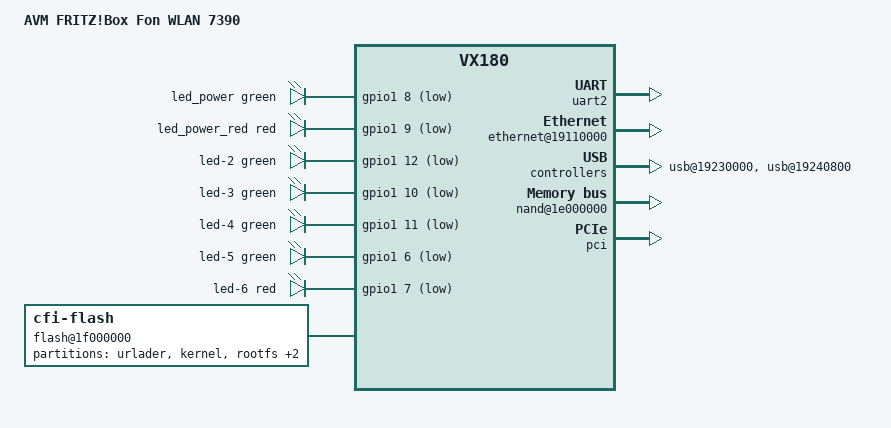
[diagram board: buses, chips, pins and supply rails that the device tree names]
// SPDX-License-Identifier: GPL-2.0
/dts-v1/;

#include <dt-bindings/gpio/gpio.h>
#include <dt-bindings/leds/common.h>

/ {
	#address-cells = <1>;
	#size-cells = <1>;
	compatible = "avm,fritzbox-7390", "ikanos,vx180";
	model = "AVM FRITZ!Box Fon WLAN 7390";

	aliases {
		serial0 = &uart2;
		led-boot = &led_power;
		led-failsafe = &led_power_red;
		led-running = &led_power;
		led-upgrade = &led_power_red;
	};

	chosen {
		stdout-path = "serial0:115200n8";
	};

	/* The numbers are those of AVM's hw156 configuration minus 16. */
	leds {
		compatible = "gpio-leds";

		led_power: led-0 {
			color = <LED_COLOR_ID_GREEN>;
			function = LED_FUNCTION_POWER;
			gpios = <&gpio1 8 GPIO_ACTIVE_LOW>;
			default-state = "keep";
		};

		led_power_red: led-1 {
			color = <LED_COLOR_ID_RED>;
			function = LED_FUNCTION_POWER;
			gpios = <&gpio1 9 GPIO_ACTIVE_LOW>;
		};

		led-2 {
			color = <LED_COLOR_ID_GREEN>;
			function = "internet";
			gpios = <&gpio1 12 GPIO_ACTIVE_LOW>;
		};

		/* Labelled "Festnetz" on the box. */
		led-3 {
			color = <LED_COLOR_ID_GREEN>;
			function = "phone";
			gpios = <&gpio1 10 GPIO_ACTIVE_LOW>;
		};

		led-4 {
			color = <LED_COLOR_ID_GREEN>;
			function = LED_FUNCTION_WLAN;
			gpios = <&gpio1 11 GPIO_ACTIVE_LOW>;
		};

		led-5 {
			color = <LED_COLOR_ID_GREEN>;
			function = "info";
			gpios = <&gpio1 6 GPIO_ACTIVE_LOW>;
		};

		led-6 {
			color = <LED_COLOR_ID_RED>;
			function = "info";
			gpios = <&gpio1 7 GPIO_ACTIVE_LOW>;
		};
	};

	cpuintc: interrupt-controller {
		compatible = "mti,cpu-interrupt-controller";
		#address-cells = <0>;
		#interrupt-cells = <1>;
		interrupt-controller;
	};

	soc {
		compatible = "simple-bus";
		#address-cells = <1>;
		#size-cells = <1>;
		ranges;

		ipc: interrupt-controller@19050000 {
			compatible = "ikanos,vx180-ipc";
			reg = <0x19050000 0x400>;
			#interrupt-cells = <1>;
			interrupt-controller;
			interrupt-parent = <&cpuintc>;
			interrupts = <2>;
		};

		/*
		 * GPIOs 16 to 31. GPIOs 0 to 15 stay without a driver, because /init
		 * drives the FPGA and the switch reset there through /dev/mem.
		 */
		gpio1: gpio@190b0000 {
			compatible = "ikanos,vx180-gpio";
			reg = <0x190b0000 0x8>;
			gpio-controller;
			#gpio-cells = <2>;
		};

		uart2: serial@190a0000 {
			compatible = "ns16450";
			reg = <0x190a0000 0x20>;
			reg-shift = <2>;
			clock-frequency = <166666666>;
			no-loopback-test;
			interrupt-parent = <&ipc>;
			interrupts = <29>;
		};

		ethernet@19110000 {
			compatible = "ikanos,fusiv-eth";
			reg = <0x19110000 0x1000>;
			interrupt-parent = <&ipc>;
			interrupts = <14>;
		};

		usb@19230000 {
			compatible = "generic-ehci";
			reg = <0x19230000 0x5c>;
			interrupt-parent = <&ipc>;
			interrupts = <35>;
		};

		usb@19240800 {
			compatible = "generic-ohci";
			reg = <0x19240800 0x5c>;
			interrupt-parent = <&ipc>;
			interrupts = <35>;
		};

		/*
		 * An AMD style CFI chip, as in AVM's kernel (CONFIG_MTD_CFI_AMDSTD, 16 bit).
		 * Only rootfs_data and firmware (for sysupgrade) are writable. urlader is
		 * read only and tffs is not listed, so Linux never erases or programs them.
		 * The urlader partition also holds secrets in its environment, so its
		 * content must stay out of logs. Only the calibration cells are used.
		 */
		flash@1f000000 {
			compatible = "cfi-flash";
			reg = <0x1f000000 0x1000000>;
			bank-width = <2>;

			partitions {
				compatible = "fixed-partitions";
				#address-cells = <1>;
				#size-cells = <1>;

				partition@0 {
					compatible = "nvmem-cells";
					label = "urlader";
					reg = <0x0 0x20000>;
					read-only;
					#address-cells = <1>;
					#size-cells = <1>;

					calibration_5ghz: calibration@985 {
						reg = <0x985 0x1000>;
					};

					calibration_2ghz: calibration@198a {
						reg = <0x198a 0x1000>;
					};
				};

				/*
				 * Where EVA starts the firmware, see build.sh: the EVA image of
				 * the kernel with a dummy squashfs, padded to 4 MB, then OpenWrt's
				 * squashfs. While the AVM firmware is installed, its own kernel and
				 * root file system lie here instead. tffs follows at 0xf00000 and
				 * is not listed.
				 */
				partition@20000 {
					label = "kernel";
					reg = <0x20000 0x400000>;
					read-only;
				};

				partition@420000 {
					label = "rootfs";
					reg = <0x420000 0x600000>;
					read-only;
				};

				/*
				 * The only writable partition: OpenWrt's settings and installed
				 * packages (jffs2, set up by mount_root). It ends where tffs begins.
				 */
				partition@a20000 {
					label = "rootfs_data";
					reg = <0xa20000 0x4e0000>;
				};

				/*
				 * The three partitions above as one, for sysupgrade
				 * (openwrt/files/lib/upgrade/platform.sh). The only other
				 * writable one.
				 */
				partition@20000-firmware {
					label = "firmware";
					reg = <0x20000 0xee0000>;
				};
			};
		};

		/*
		 * The 512 MB NAND (Micron MT29F4G08ABADA) without a NAND controller, as
		 * in AVM's direct_avm.c with CONFIG_MTD_NAND_DIRECT_AVM_GPIO: data through
		 * the bus at 0x1e000000, the control lines on GPIOs 16 (/CE), 18 (CLE),
		 * 19 (ALE) and 20 (/WP). The 8 bit chip sits on the low byte of a 16
		 * bit bus, so it only answers 16 bit accesses (patch 0012). The ready
		 * line (GPIO 21) is left out: writes to the bus are posted, so it still
		 * reads ready before a command has reached the chip. Linux asks the
		 * chip for its status over the bus instead, which keeps the order.
		 * GPIO writes and bus accesses can still overtake each other, so the
		 * driver reads the NOR flash on the same bus around each change of the
		 * lines, as AVM's driver does (io-sync-reg, patch 0012). AVM switches
		 * on the chip's own ECC, so it is used here too. After power-on the
		 * chip often doesn't answer until it was reset a few times, as AVM's
		 * driver notes and does before its scan (reset-at-probe, patch 0012).
		 */
		nand@1e000000 {
			compatible = "gpio-control-nand";
			reg = <0x1e000000 0x2>;
			gpio-control-nand,16bit-bus;
			gpio-control-nand,reset-at-probe;
			gpio-control-nand,io-sync-reg = /bits/ 64 <0x1f000000>;
			nce-gpios = <&gpio1 0 GPIO_ACTIVE_HIGH>;
			ale-gpios = <&gpio1 3 GPIO_ACTIVE_HIGH>;
			cle-gpios = <&gpio1 2 GPIO_ACTIVE_HIGH>;
			nwp-gpios = <&gpio1 4 GPIO_ACTIVE_HIGH>;
			nand-ecc-mode = "on-die";

			partitions {
				compatible = "fixed-partitions";
				#address-cells = <1>;
				#size-cells = <1>;

				/*
				 * UBI attaches it at boot. It refuses a partition with
				 * other content, such as AVM's, until ubiformat has
				 * prepared it. The volume must not be called rootfs_data,
				 * or OpenWrt's mount_root takes it as its overlay instead
				 * of the NOR flash.
				 */
				partition@0 {
					compatible = "linux,ubi";
					label = "ubi";
					reg = <0x0 0x20000000>;
				};
			};
		};

		pci: pci@19170000 {
			compatible = "ikanos,vx180-pci";
			device_type = "pci";
			reg = <0x19170000 0x100>;
			#address-cells = <3>;
			#size-cells = <2>;
			#interrupt-cells = <1>;
			bus-range = <0x00 0x00>;
			ranges = <0x02000000 0 0x1a000000 0x1a000000 0 0x01000000>;

			wifi@1,0 {
				reg = <0x0800 0 0 0 0>;
				nvmem-cells = <&calibration_5ghz>;
				nvmem-cell-names = "calibration";
			};

			wifi@2,0 {
				reg = <0x1000 0 0 0 0>;
				nvmem-cells = <&calibration_2ghz>;
				nvmem-cell-names = "calibration";
			};
		};
	};
};
